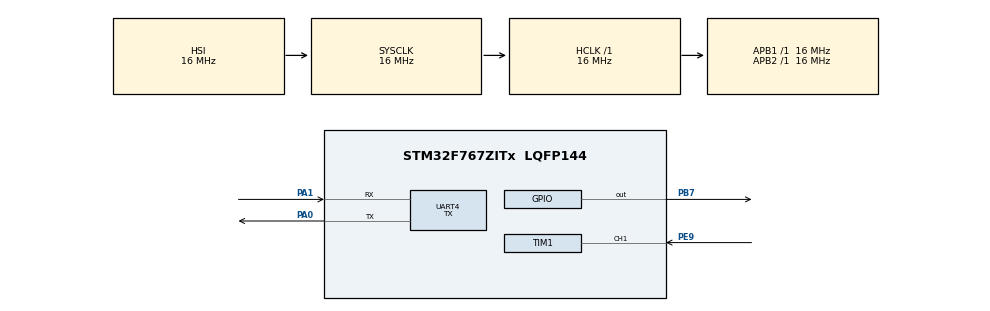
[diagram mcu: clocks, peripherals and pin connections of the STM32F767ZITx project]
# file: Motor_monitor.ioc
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CORTEX_M7.default_mode_Activation=1
Dma.Request0=UART4_TX
Dma.UART4_TX.0.Direction=DMA_MEMORY_TO_PERIPH
Dma.UART4_TX.0.FIFOMode=DMA_FIFOMODE_DISABLE
Dma.UART4_TX.0.Instance=DMA1_Stream4
Dma.UART4_TX.0.MemDataAlignment=DMA_MDATAALIGN_BYTE
Dma.UART4_TX.0.MemInc=DMA_MINC_ENABLE
Dma.UART4_TX.0.Mode=DMA_NORMAL
Dma.UART4_TX.0.PeriphDataAlignment=DMA_PDATAALIGN_BYTE
Dma.UART4_TX.0.PeriphInc=DMA_PINC_DISABLE
Dma.UART4_TX.0.Priority=DMA_PRIORITY_LOW
Mcu.Family=STM32F7
Mcu.Name=STM32F767ZITx
Mcu.Package=LQFP144
NVIC.DMA1_Stream4_IRQn=true\:0\:0\:false\:false\:true\:false\:true\:true
NVIC.PriorityGroup=NVIC_PRIORITYGROUP_4
NVIC.TIM1_CC_IRQn=true\:0\:0\:false\:false\:true\:true\:true\:true
NVIC.UART4_IRQn=true\:0\:0\:false\:false\:true\:true\:true\:true
PA0/WKUP.Mode=Asynchronous
PA0/WKUP.Signal=UART4_TX
PA1.Mode=Asynchronous
PA1.Signal=UART4_RX
PA13.Mode=Serial_Wire
PA13.Signal=SYS_JTMS-SWDIO
PA14.Mode=Serial_Wire
PA14.Signal=SYS_JTCK-SWCLK
PB7.Signal=GPIO_Output
PE9.Signal=S_TIM1_CH1
ProjectManager.HeapSize=0x200
ProjectManager.StackSize=0x400
ProjectManager.TargetToolchain=STM32CubeIDE
RCC.AHBFreq_Value=16000000
RCC.APB1Freq_Value=16000000
RCC.APB1TimFreq_Value=16000000
RCC.APB2Freq_Value=16000000
RCC.APB2TimFreq_Value=16000000
RCC.CortexFreq_Value=16000000
RCC.HCLKFreq_Value=16000000
RCC.HSE_VALUE=25000000
RCC.HSI_VALUE=16000000
RCC.LSE_VALUE=32768
RCC.SYSCLKFreq_VALUE=16000000
RCC.USBFreq_Value=96000000
RCC.VCOOutputFreq_Value=192000000
SH.S_TIM1_CH1.0=TIM1_CH1,Input_Capture1_from_TI1
TIM1.Channel-Input_Capture1_from_TI1=TIM_CHANNEL_1
TIM1.Period=39999
TIM1.Prescaler=3
UART4.Mode=MODE_TX
VP_TIM1_VS_ClockSourceINT.Mode=Internal
board=custom

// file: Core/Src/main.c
/* USER CODE BEGIN Header */
/**
  ******************************************************************************
  * @file           : main.c
  * @brief          : Main program body
  ******************************************************************************
  * @attention
  *
  * Copyright (c) 2025 STMicroelectronics.
  * All rights reserved.
  *
  * This software is licensed under terms that can be found in the LICENSE file
  * in the root directory of this software component.
  * If no LICENSE file comes with this software, it is provided AS-IS.
  *
  ******************************************************************************
  */
/* USER CODE END Header */
#include "main.h"

TIM_HandleTypeDef htim1;

UART_HandleTypeDef huart4;
DMA_HandleTypeDef hdma_uart4_tx;

void SystemClock_Config(void);
static void MPU_Config(void);
static void MX_GPIO_Init(void);
static void MX_DMA_Init(void);
static void MX_TIM1_Init(void);
static void MX_UART4_Init(void);
/* USER CODE BEGIN PFP */
void TIM1_Start_IC(void);
void w_calc(void);

/* USER CODE END PFP */

/* USER CODE BEGIN 0 */
uint8_t transmit_start[6] = {'s','t','a','r','t','\n'};
uint16_t counter_buffer[4] = {0,0,0,0};
uint8_t w_time[3] = {0,0,'\n'};
uint8_t re_count = 0;
int is_sent = 0;

/* USER CODE END 0 */

int main(void)
{

  /* MPU Configuration--------------------------------------------------------*/
  MPU_Config();

  /* MCU Configuration--------------------------------------------------------*/

  /* Reset of all peripherals, Initializes the Flash interface and the Systick. */
  HAL_Init();

  /* Configure the system clock */
  SystemClock_Config();

  /* Initialize all configured peripherals */
  MX_GPIO_Init();
  MX_DMA_Init();
  MX_TIM1_Init();
  MX_UART4_Init();
  /* USER CODE BEGIN 2 */
  //enable uart4_IRQn
  TIM1_Start_IC();

  /* USER CODE END 2 */

  /* Infinite loop */
  while (1)
  {

    /* USER CODE BEGIN 3 */
	  //toggle led to show that its in waiting
	  HAL_GPIO_TogglePin(GPIOB, GPIO_PIN_7);
	  HAL_Delay(500);
	  //HAL_UART_Transmit_IT(&huart4, w_time, 3);

  }
  /* USER CODE END 3 */
}

void SystemClock_Config(void)
{
  RCC_OscInitTypeDef RCC_OscInitStruct = {0};
  RCC_ClkInitTypeDef RCC_ClkInitStruct = {0};

  /** Configure the main internal regulator output voltage
  */
  __HAL_RCC_PWR_CLK_ENABLE();
  __HAL_PWR_VOLTAGESCALING_CONFIG(PWR_REGULATOR_VOLTAGE_SCALE3);

  /** Initializes the RCC Oscillators according to the specified parameters
  * in the RCC_OscInitTypeDef structure.
  */
  RCC_OscInitStruct.OscillatorType = RCC_OSCILLATORTYPE_HSI;
  RCC_OscInitStruct.HSIState = RCC_HSI_ON;
  RCC_OscInitStruct.HSICalibrationValue = RCC_HSICALIBRATION_DEFAULT;
  RCC_OscInitStruct.PLL.PLLState = RCC_PLL_NONE;
  if (HAL_RCC_OscConfig(&RCC_OscInitStruct) != HAL_OK)
  {
    Error_Handler();
  }

  /** Initializes the CPU, AHB and APB buses clocks
  */
  RCC_ClkInitStruct.ClockType = RCC_CLOCKTYPE_HCLK|RCC_CLOCKTYPE_SYSCLK
                              |RCC_CLOCKTYPE_PCLK1|RCC_CLOCKTYPE_PCLK2;
  RCC_ClkInitStruct.SYSCLKSource = RCC_SYSCLKSOURCE_HSI;
  RCC_ClkInitStruct.AHBCLKDivider = RCC_SYSCLK_DIV1;
  RCC_ClkInitStruct.APB1CLKDivider = RCC_HCLK_DIV1;
  RCC_ClkInitStruct.APB2CLKDivider = RCC_HCLK_DIV1;

  if (HAL_RCC_ClockConfig(&RCC_ClkInitStruct, FLASH_LATENCY_0) != HAL_OK)
  {
    Error_Handler();
  }
}

static void MX_TIM1_Init(void)
{

  TIM_ClockConfigTypeDef sClockSourceConfig = {0};
  TIM_MasterConfigTypeDef sMasterConfig = {0};
  TIM_IC_InitTypeDef sConfigIC = {0};

  htim1.Instance = TIM1;
  htim1.Init.Prescaler = 3;
  htim1.Init.CounterMode = TIM_COUNTERMODE_UP;
  htim1.Init.Period = 39999;
  htim1.Init.ClockDivision = TIM_CLOCKDIVISION_DIV1;
  htim1.Init.RepetitionCounter = 0;
  htim1.Init.AutoReloadPreload = TIM_AUTORELOAD_PRELOAD_DISABLE;
  if (HAL_TIM_Base_Init(&htim1) != HAL_OK)
  {
    Error_Handler();
  }
  sClockSourceConfig.ClockSource = TIM_CLOCKSOURCE_INTERNAL;
  if (HAL_TIM_ConfigClockSource(&htim1, &sClockSourceConfig) != HAL_OK)
  {
    Error_Handler();
  }
  if (HAL_TIM_IC_Init(&htim1) != HAL_OK)
  {
    Error_Handler();
  }
  sMasterConfig.MasterOutputTrigger = TIM_TRGO_RESET;
  sMasterConfig.MasterOutputTrigger2 = TIM_TRGO2_RESET;
  sMasterConfig.MasterSlaveMode = TIM_MASTERSLAVEMODE_DISABLE;
  if (HAL_TIMEx_MasterConfigSynchronization(&htim1, &sMasterConfig) != HAL_OK)
  {
    Error_Handler();
  }
  sConfigIC.ICPolarity = TIM_INPUTCHANNELPOLARITY_RISING;
  sConfigIC.ICSelection = TIM_ICSELECTION_DIRECTTI;
  sConfigIC.ICPrescaler = TIM_ICPSC_DIV1;
  sConfigIC.ICFilter = 0;
  if (HAL_TIM_IC_ConfigChannel(&htim1, &sConfigIC, TIM_CHANNEL_1) != HAL_OK)
  {
    Error_Handler();
  }

}

static void MX_UART4_Init(void)
{

  huart4.Instance = UART4;
  huart4.Init.BaudRate = 115200;
  huart4.Init.WordLength = UART_WORDLENGTH_8B;
  huart4.Init.StopBits = UART_STOPBITS_1;
  huart4.Init.Parity = UART_PARITY_NONE;
  huart4.Init.Mode = UART_MODE_TX;
  huart4.Init.HwFlowCtl = UART_HWCONTROL_NONE;
  huart4.Init.OverSampling = UART_OVERSAMPLING_16;
  huart4.Init.OneBitSampling = UART_ONE_BIT_SAMPLE_DISABLE;
  huart4.AdvancedInit.AdvFeatureInit = UART_ADVFEATURE_NO_INIT;
  if (HAL_UART_Init(&huart4) != HAL_OK)
  {
    Error_Handler();
  }

}

static void MX_DMA_Init(void)
{

  /* DMA controller clock enable */
  __HAL_RCC_DMA1_CLK_ENABLE();

  /* DMA interrupt init */
  /* DMA1_Stream4_IRQn interrupt configuration */
  HAL_NVIC_SetPriority(DMA1_Stream4_IRQn, 0, 0);
  HAL_NVIC_EnableIRQ(DMA1_Stream4_IRQn);

}

static void MX_GPIO_Init(void)
{
  GPIO_InitTypeDef GPIO_InitStruct = {0};

  /* GPIO Ports Clock Enable */
  __HAL_RCC_GPIOA_CLK_ENABLE();
  __HAL_RCC_GPIOE_CLK_ENABLE();
  __HAL_RCC_GPIOB_CLK_ENABLE();

  /*Configure GPIO pin Output Level */
  HAL_GPIO_WritePin(GPIOB, GPIO_PIN_7, GPIO_PIN_RESET);

  /*Configure GPIO pin : PB7 */
  GPIO_InitStruct.Pin = GPIO_PIN_7;
  GPIO_InitStruct.Mode = GPIO_MODE_OUTPUT_PP;
  GPIO_InitStruct.Pull = GPIO_NOPULL;
  GPIO_InitStruct.Speed = GPIO_SPEED_FREQ_LOW;
  HAL_GPIO_Init(GPIOB, &GPIO_InitStruct);

}

/* USER CODE BEGIN 4 */
void w_calc(void) {
	//timer period is 10ms
	float time_ms = ((float)((counter_buffer[3] - counter_buffer[2]) + (counter_buffer[2] - counter_buffer[1]) + (counter_buffer[1] - counter_buffer[0]) + counter_buffer[0]) / 39999)*10;
	float w = 1/(0.001*time_ms);
	//convert time_s to uint_8
	if(time_ms < 0) {
		time_ms = 0;
	}
	//if over 40ms, timer didn't capture full period
	else if(time_ms > 40) {
		time_ms = 0xFF;
	}
	else
	{
		time_ms = (uint8_t)((time_ms / 40) * (float)(0xFF));
	}
	//convert w to uint_8
	if(w < 0) {
		w = 0;
	}
	else if(w > 1000) {
		w = 0xFF;
	}
	else
	{
		w = (uint8_t)((w / 1000) * (float)(0xFF));
	}
	w_time[0] = w;
	w_time[1] = time_ms;

}

void TIM1_Start_IC(void) {
    HAL_TIM_IC_Start_IT(&htim1, TIM_CHANNEL_1);
}

void HAL_TIM_IC_CaptureCallback(TIM_HandleTypeDef *htim) {
	if(htim->Channel == HAL_TIM_ACTIVE_CHANNEL_1) {
		//add count value of each interrupt to the counter buffer
		counter_buffer[re_count] = HAL_TIM_ReadCapturedValue(htim, TIM_CHANNEL_1);
		re_count++;
		//when there are 4 high signals, calculate and transmit the speed
		if(re_count == 4) {
			w_calc();
		    re_count = 0;
		    //HAL_UART_Transmit_DMA(&huart4, transmit_start, 6);
		    if(is_sent == 0) {
		    	HAL_UART_Transmit_DMA(&huart4, w_time, 3);
		    	is_sent = 0;
		    	__HAL_TIM_SET_COUNTER(htim, 0);
		    }
		}
	}
}

void HAL_UART_txCPltCallback(UART_HandleTypeDef *huart) {
	is_sent = 1;
}

/* USER CODE END 4 */

 /* MPU Configuration */

void MPU_Config(void)
{
  MPU_Region_InitTypeDef MPU_InitStruct = {0};

  /* Disables the MPU */
  HAL_MPU_Disable();

  /** Initializes and configures the Region and the memory to be protected
  */
  MPU_InitStruct.Enable = MPU_REGION_ENABLE;
  MPU_InitStruct.Number = MPU_REGION_NUMBER0;
  MPU_InitStruct.BaseAddress = 0x0;
  MPU_InitStruct.Size = MPU_REGION_SIZE_4GB;
  MPU_InitStruct.SubRegionDisable = 0x87;
  MPU_InitStruct.TypeExtField = MPU_TEX_LEVEL0;
  MPU_InitStruct.AccessPermission = MPU_REGION_NO_ACCESS;
  MPU_InitStruct.DisableExec = MPU_INSTRUCTION_ACCESS_DISABLE;
  MPU_InitStruct.IsShareable = MPU_ACCESS_SHAREABLE;
  MPU_InitStruct.IsCacheable = MPU_ACCESS_NOT_CACHEABLE;
  MPU_InitStruct.IsBufferable = MPU_ACCESS_NOT_BUFFERABLE;

  HAL_MPU_ConfigRegion(&MPU_InitStruct);
  /* Enables the MPU */
  HAL_MPU_Enable(MPU_PRIVILEGED_DEFAULT);

}

void Error_Handler(void)
{
  __disable_irq();
  while (1)
  {
  }
}
